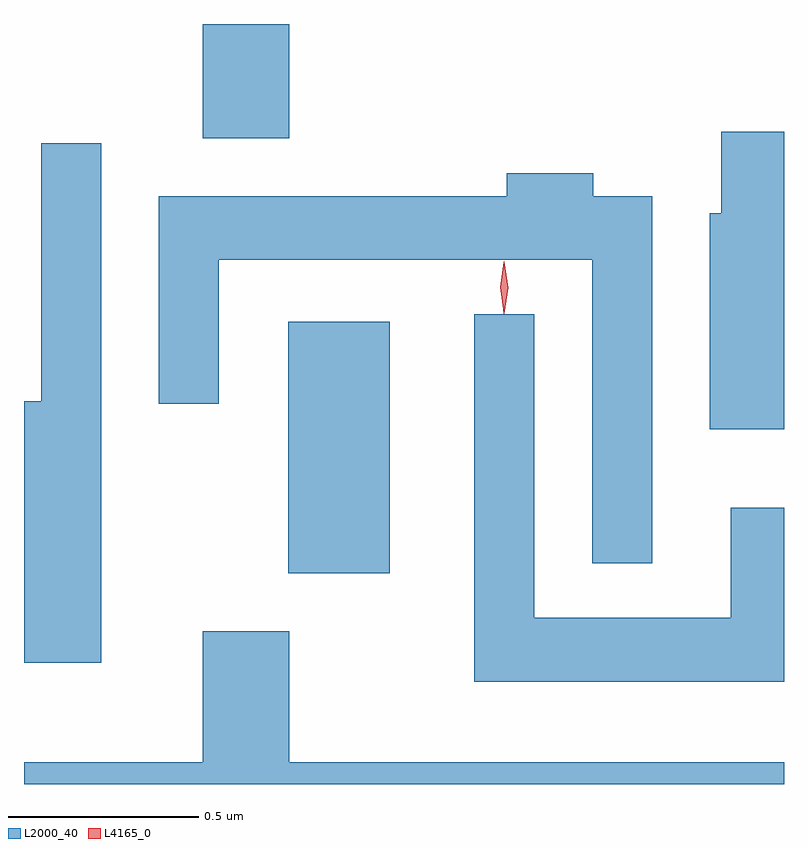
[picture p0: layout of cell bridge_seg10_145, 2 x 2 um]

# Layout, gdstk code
import gdstk
lib = gdstk.Library(unit=1e-6, precision=1e-09)
def R(c, l, rs):  # rectangles x0, y0, x1, y1
    for r in rs: c.add(gdstk.rectangle(r[:2], r[2:], *l))
def P(c, l, *ps):  # polygons
    for p in ps: c.add(gdstk.Polygon(p, *l))
L2000_40 = (2000, 40)
L4165_0 = (4165, 0)

bridge_seg10_145 = lib.new_cell('bridge_seg10_145')
R(bridge_seg10_145, L2000_40, [(1578.346,2132.441,1578.614,2133.104), (1578.121,2133.586,1578.349,2133.887)])
P(bridge_seg10_145, L2000_40, [(1579.651,2133.604),(1579.486,2133.604),(1579.486,2133.389),(1579.456,2133.389),(1579.456,2132.821),(1579.651,2132.821)],
  [(1577.854,2133.573),(1577.696,2133.573),(1577.696,2132.894),(1577.651,2132.894),(1577.651,2132.206),(1577.854,2132.206)],
  [(1579.304,2133.434),(1579.149,2133.434),(1579.149,2133.494),(1578.921,2133.494),(1578.921,2133.434),(1578.006,2133.434),(1578.006,2132.888),(1578.164,2132.888),(1578.164,2133.266),(1579.146,2133.266),(1579.146,2132.468),(1579.304,2132.468)],
  [(1579.651,2132.614),(1579.511,2132.614),(1579.511,2132.324),(1578.994,2132.324),(1578.994,2133.123),(1578.836,2133.123),(1578.836,2132.156),(1579.651,2132.156)],
  [(1579.651,2131.944),(1578.349,2131.944),(1578.349,2132.289),(1578.121,2132.289),(1578.121,2131.944),(1577.651,2131.944),(1577.651,2131.887),(1579.651,2131.887)])
P(bridge_seg10_145, L4165_0, [(1578.914,2133.127),(1578.914,2133.128),(1578.904,2133.194),(1578.914,2133.26),(1578.914,2133.26),(1578.915,2133.26),(1578.924,2133.194),(1578.915,2133.128)],
  [(1578.914,2133.124),(1578.905,2133.193),(1578.914,2133.262),(1578.915,2133.263),(1578.915,2133.262),(1578.925,2133.193),(1578.915,2133.124),(1578.915,2133.124)])

lib.write_gds('bridge_seg10_145.gds')
